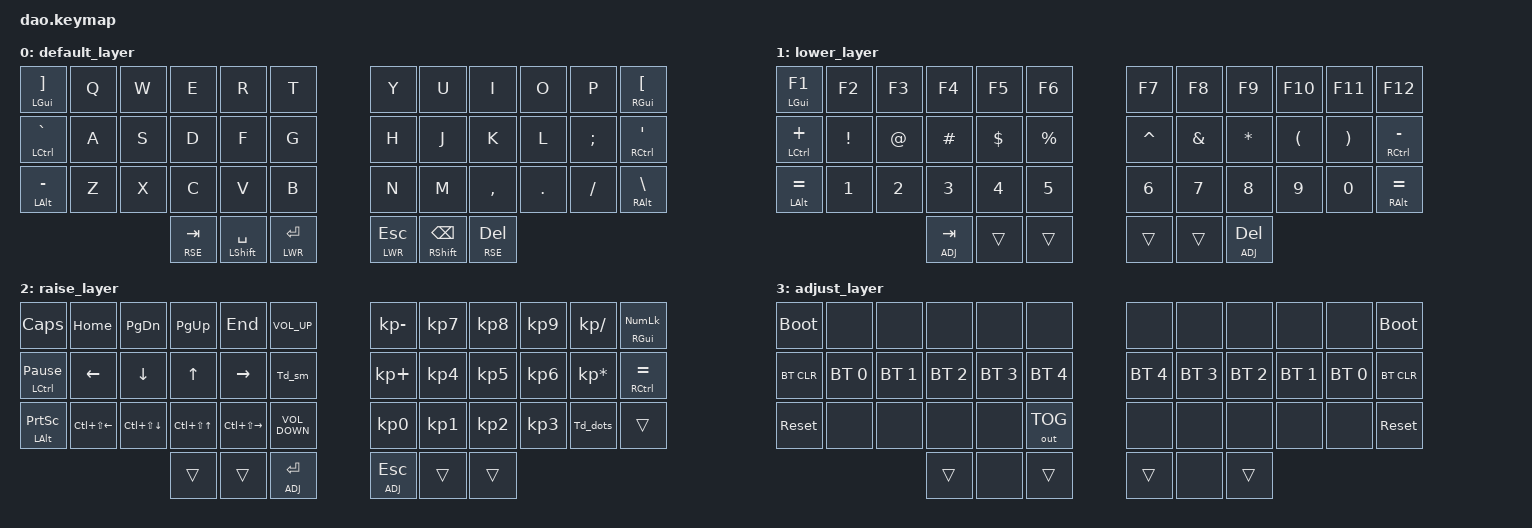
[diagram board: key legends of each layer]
/*
 * Copyright (c) 2021 Rafael Yumagulov
 *
 * SPDX-License-Identifier: MIT
 */

#include <behaviors.dtsi>
#include <dt-bindings/zmk/bt.h>
#include <dt-bindings/zmk/keys.h>
#include <dt-bindings/zmk/outputs.h>

#define DEF 0
#define LWR 1
#define RSE 2
#define ADJ 3

&lt { quick_tap_ms = <200>; };

&mt { quick_tap_ms = <200>; };

/ {
    chosen {
        zmk,matrix_transform = &default_transform;

        // zmk,matrix_transform = &extra_keys_transform;
    };
};

/ {
    combos {
        compatible = "zmk,combos";

        L_br {
            bindings = <&kp LEFT_PARENTHESIS>;
            key-positions = <19 20>;
            layers = <2>;
        };

        R_br {
            bindings = <&kp RIGHT_PARENTHESIS>;
            key-positions = <22 21>;
            layers = <2>;
        };

        Eq {
            bindings = <&kp EQUAL>;
            key-positions = <30 31>;
            layers = <2>;
        };

        L_sq_br {
            bindings = <&kp LEFT_BRACKET>;
            key-positions = <7 8>;
            layers = <2>;
        };

        R_sq_br {
            bindings = <&kp RIGHT_BRACKET>;
            key-positions = <10 9>;
            layers = <2>;
        };

        F_four {
            bindings = <&kp F4>;
            key-positions = <10 11>;
            layers = <2>;
        };

        esc {
            bindings = <&kp ESCAPE>;
            key-positions = <0 1>;
        };

        t_2 {
            bindings = <&tog 2>;
            key-positions = <36 41>;
        };

        l_fig_br {
            bindings = <&kp LEFT_BRACE>;
            key-positions = <31 32>;
            layers = <2>;
        };

        r_fig_br {
            bindings = <&kp RIGHT_BRACE>;
            key-positions = <33 34>;
            layers = <2>;
        };
    };

    behaviors {
        Td_sm: Td_sm {
            compatible = "zmk,behavior-tap-dance";
            label = "TD_SM";
            #binding-cells = <0>;
            bindings = <&kp K_MUTE>, <&kp LC(LS(A))>;
        };

        Td_dots: Td_dots {
            compatible = "zmk,behavior-tap-dance";
            label = "TD_DOTS";
            #binding-cells = <0>;
            bindings = <&kp KP_DOT>, <&kp SEMICOLON>, <&kp LS(SEMI)>;
        };
    };

    keymap {
        compatible = "zmk,keymap";

        default_layer {
            bindings = <
&mt LGUI RBKT    &kp Q  &kp W  &kp E        &kp R            &kp T        &kp Y        &kp U           &kp I        &kp O    &kp P     &mt RGUI LBKT
&mt LCTRL GRAVE  &kp A  &kp S  &kp D        &kp F            &kp G        &kp H        &kp J           &kp K        &kp L    &kp SEMI  &mt RCTRL SQT
&mt LALT MINUS   &kp Z  &kp X  &kp C        &kp V            &kp B        &kp N        &kp M           &kp COMMA    &kp DOT  &kp FSLH  &mt RALT BSLH
                               &lt RSE TAB  &mt LSHFT SPACE  &lt LWR RET  &lt LWR ESC  &mt RSHFT BSPC  &lt RSE DEL
            >;
        };

        lower_layer {
            bindings = <
&mt LGUI F1     &kp F2    &kp F3  &kp F4       &kp F5      &kp F6     &kp F7     &kp F8    &kp F9       &kp F10   &kp F11   &kp F12
&mt LCTRL PLUS  &kp EXCL  &kp AT  &kp HASH     &kp DOLLAR  &kp PRCNT  &kp CARET  &kp AMPS  &kp STAR     &kp LPAR  &kp RPAR  &mt RCTRL MINUS
&mt LALT EQUAL  &kp N1    &kp N2  &kp N3       &kp N4      &kp N5     &kp N6     &kp N7    &kp N8       &kp N9    &kp N0    &mt RIGHT_ALT EQUAL
                                  &lt ADJ TAB  &trans      &trans     &trans     &trans    &lt ADJ DEL
            >;
        };

        raise_layer {
            bindings = <
&kp CAPSLOCK              &kp HOME          &kp PAGE_DOWN           &kp PAGE_UP           &kp END            &kp C_VOLUME_UP    &kp KP_MINUS  &kp KP_N7  &kp KP_N8  &kp KP_N9  &kp KP_SLASH     &mt RIGHT_GUI KP_NUM
&mt LCTRL PAUSE_BREAK     &kp LEFT          &kp DOWN                &kp UP_ARROW          &kp RIGHT          &Td_sm             &kp KP_PLUS   &kp KP_N4  &kp KP_N5  &kp KP_N6  &kp KP_MULTIPLY  &mt RCTRL EQUAL
&mt LEFT_ALT PRINTSCREEN  &kp LC(LS(LEFT))  &kp LC(LS(DOWN_ARROW))  &kp LC(LS(UP_ARROW))  &kp LC(LS(RIGHT))  &kp C_VOLUME_DOWN  &kp KP_N0     &kp KP_N1  &kp KP_N2  &kp KP_N3  &Td_dots         &trans
                                                                    &trans                &trans             &lt ADJ RET        &lt ADJ ESC   &trans     &trans
            >;
        };

        adjust_layer {
            bindings = <
&bootloader  &none         &none         &none         &none         &none         &none         &none         &none         &none         &none         &bootloader
&bt BT_CLR   &bt BT_SEL 0  &bt BT_SEL 1  &bt BT_SEL 2  &bt BT_SEL 3  &bt BT_SEL 4  &bt BT_SEL 4  &bt BT_SEL 3  &bt BT_SEL 2  &bt BT_SEL 1  &bt BT_SEL 0  &bt BT_CLR
&sys_reset   &none         &none         &none         &none         &out OUT_TOG  &none         &none         &none         &none         &none         &sys_reset
                                         &trans        &none         &trans        &trans        &none         &trans
            >;
        };
    };
};
